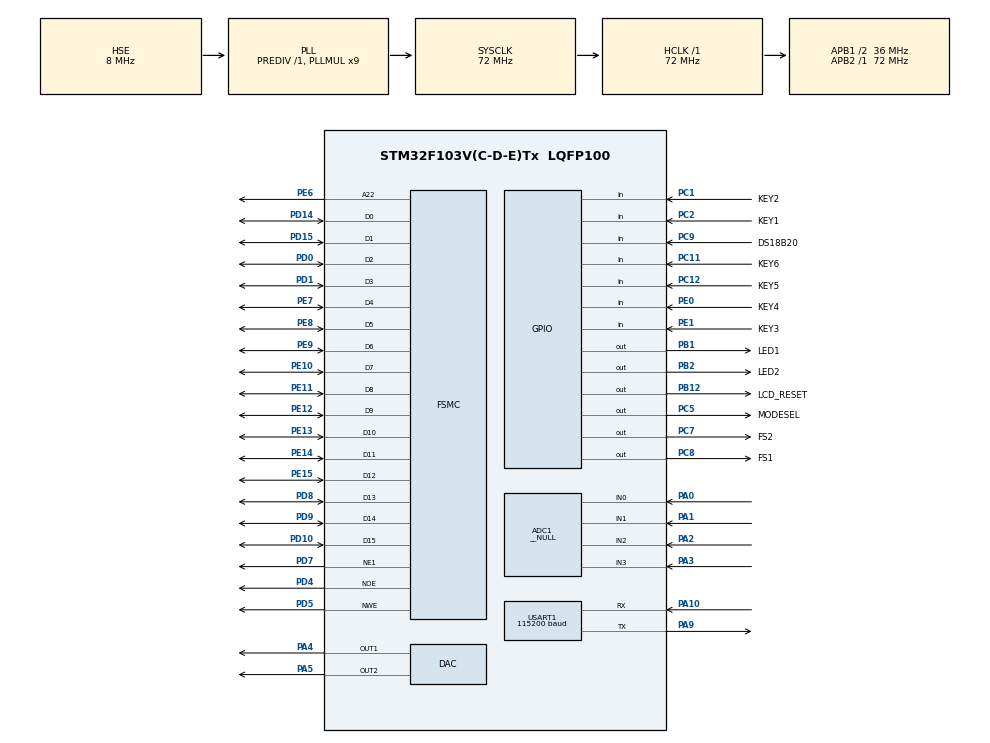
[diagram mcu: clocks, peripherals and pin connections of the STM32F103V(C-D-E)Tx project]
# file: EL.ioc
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ADC1.Channel-0\#ChannelRegularConversion=ADC_CHANNEL_0
ADC1.Channel-1\#ChannelRegularConversion=ADC_CHANNEL_1
ADC1.Channel-2\#ChannelRegularConversion=ADC_CHANNEL_2
ADC1.Channel-3\#ChannelRegularConversion=ADC_CHANNEL_3
ADC1.Channel-IN0=ADC_CHANNEL_0
ADC1.Channel-IN1=ADC_CHANNEL_1
ADC1.Channel-IN2=ADC_CHANNEL_2
ADC1.Channel-IN3=ADC_CHANNEL_3
ADC1.ContinuousConvMode=ENABLE
ADC1.DataAlign=ADC_DATAALIGN_RIGHT
ADC1.DiscontinuousConvMode=DISABLE
ADC1.EnableAnalogWatchDog=false
ADC1.EnableRegularConversion=ENABLE
ADC1.ExternalTrigConv=ADC_SOFTWARE_START
ADC1.InjNumberOfConversion=0
ADC1.Mode=__NULL
ADC1.NbrOfConversion=4
ADC1.Rank-0\#ChannelRegularConversion=1
ADC1.Rank-1\#ChannelRegularConversion=2
ADC1.Rank-2\#ChannelRegularConversion=3
ADC1.Rank-3\#ChannelRegularConversion=4
ADC1.SamplingTime-0\#ChannelRegularConversion=ADC_SAMPLETIME_55CYCLES_5
ADC1.SamplingTime-1\#ChannelRegularConversion=ADC_SAMPLETIME_55CYCLES_5
ADC1.SamplingTime-2\#ChannelRegularConversion=ADC_SAMPLETIME_55CYCLES_5
ADC1.SamplingTime-3\#ChannelRegularConversion=ADC_SAMPLETIME_55CYCLES_5
ADC1.ScanConvMode=ADC_SCAN_ENABLE
ADC1.master=1
DAC.DAC_OutputBuffer-DAC_OUT1=DAC_OUTPUTBUFFER_ENABLE
DAC.DAC_Trigger-DAC_OUT1=DAC_TRIGGER_NONE
Dma.ADC1.0.Direction=DMA_PERIPH_TO_MEMORY
Dma.ADC1.0.Instance=DMA1_Channel1
Dma.ADC1.0.MemDataAlignment=DMA_MDATAALIGN_WORD
Dma.ADC1.0.MemInc=DMA_MINC_ENABLE
Dma.ADC1.0.Mode=DMA_CIRCULAR
Dma.ADC1.0.PeriphDataAlignment=DMA_PDATAALIGN_WORD
Dma.ADC1.0.PeriphInc=DMA_PINC_DISABLE
Dma.ADC1.0.Priority=DMA_PRIORITY_HIGH
Dma.Request0=ADC1
FSMC.AddressSetupTime1=0
FSMC.BusTurnAroundDuration1=0
FSMC.DataSetupTime1=5
Mcu.Family=STM32F1
Mcu.Name=STM32F103V(C-D-E)Tx
Mcu.Package=LQFP100
NVIC.ADC1_2_IRQn=true\:0\:0\:false\:false\:true\:true\:true
NVIC.DMA1_Channel1_IRQn=true\:0\:0\:false\:false\:true\:false\:true
NVIC.PriorityGroup=NVIC_PRIORITYGROUP_4
NVIC.TIM2_IRQn=true\:0\:0\:false\:false\:true\:true\:true
OSC_IN.Mode=HSE-External-Oscillator
OSC_IN.Signal=RCC_OSC_IN
OSC_OUT.Mode=HSE-External-Oscillator
OSC_OUT.Signal=RCC_OSC_OUT
PA0-WKUP.Signal=ADCx_IN0
PA1.Signal=ADCx_IN1
PA10.Mode=Asynchronous
PA10.Signal=USART1_RX
PA13.Mode=Serial_Wire
PA13.Signal=SYS_JTMS-SWDIO
PA14.Mode=Serial_Wire
PA14.Signal=SYS_JTCK-SWCLK
PA2.Signal=ADCx_IN2
PA3.Signal=ADCx_IN3
PA4.Signal=COMP_DAC1_group
PA5.Signal=COMP_DAC2_group
PA9.Mode=Asynchronous
PA9.Signal=USART1_TX
PB1.GPIO_Label=LED1
PB1.GPIO_PuPd=GPIO_PULLUP
PB1.PinState=GPIO_PIN_SET
PB1.Signal=GPIO_Output
PB12.GPIO_Label=LCD_RESET
PB12.Signal=GPIO_Output
PB2.GPIO_Label=LED2
PB2.GPIO_ModeDefaultOutputPP=GPIO_MODE_OUTPUT_PP
PB2.GPIO_PuPd=GPIO_PULLUP
PB2.PinState=GPIO_PIN_SET
PB2.Signal=GPIO_Output
PC1.GPIO_Label=KEY2
PC1.GPIO_PuPd=GPIO_PULLUP
PC1.Signal=GPIO_Input
PC11.GPIO_Label=KEY6
PC11.GPIO_PuPd=GPIO_PULLUP
PC11.Signal=GPIO_Input
PC12.GPIO_Label=KEY5
PC12.GPIO_PuPd=GPIO_PULLUP
PC12.Signal=GPIO_Input
PC2.GPIO_Label=KEY1
PC2.GPIO_PuPd=GPIO_PULLUP
PC2.Signal=GPIO_Input
PC5.GPIO_Label=MODESEL
PC5.Signal=GPIO_Output
PC7.GPIO_Label=FS2
PC7.Signal=GPIO_Output
PC8.GPIO_Label=FS1
PC8.Signal=GPIO_Output
PC9.GPIO_Label=DS18B20
PC9.Signal=GPIO_Input
PD0.Mode=16b-d1
PD0.Signal=FSMC_D2
PD1.Mode=16b-d1
PD1.Signal=FSMC_D3
PD10.Mode=16b-d1
PD10.Signal=FSMC_D15
PD14.Mode=16b-d1
PD14.Signal=FSMC_D0
PD15.Mode=16b-d1
PD15.Signal=FSMC_D1
PD4.Mode=Lcd1
PD4.Signal=FSMC_NOE
PD5.Mode=Lcd1
PD5.Signal=FSMC_NWE
PD7.Mode=NorPsramChipSelect1_1
PD7.Signal=FSMC_NE1
PD8.Mode=16b-d1
PD8.Signal=FSMC_D13
PD9.Mode=16b-d1
PD9.Signal=FSMC_D14
PE0.GPIO_Label=KEY4
PE0.GPIO_PuPd=GPIO_PULLUP
PE0.Signal=GPIO_Input
PE1.GPIO_Label=KEY3
PE1.GPIO_PuPd=GPIO_PULLUP
PE1.Signal=GPIO_Input
PE10.Mode=16b-d1
PE10.Signal=FSMC_D7
PE11.Mode=16b-d1
PE11.Signal=FSMC_D8
PE12.Mode=16b-d1
PE12.Signal=FSMC_D9
PE13.Mode=16b-d1
PE13.Signal=FSMC_D10
PE14.Mode=16b-d1
PE14.Signal=FSMC_D11
PE15.Mode=16b-d1
PE15.Signal=FSMC_D12
PE6.Mode=A22_1
PE6.Signal=FSMC_A22
PE7.Mode=16b-d1
PE7.Signal=FSMC_D4
PE8.Mode=16b-d1
PE8.Signal=FSMC_D5
PE9.Mode=16b-d1
PE9.Signal=FSMC_D6
ProjectManager.HeapSize=0x400
ProjectManager.StackSize=0x800
ProjectManager.TargetToolchain=MDK-ARM V5
RCC.ADCPresc=RCC_ADCPCLK2_DIV6
RCC.AHBFreq_Value=72000000
RCC.APB1CLKDivider=RCC_HCLK_DIV2
RCC.APB1Freq_Value=36000000
RCC.APB1TimFreq_Value=72000000
RCC.APB2Freq_Value=72000000
RCC.APB2TimFreq_Value=72000000
RCC.HCLKFreq_Value=72000000
RCC.PLLMUL=RCC_PLL_MUL9
RCC.PLLSourceVirtual=RCC_PLLSOURCE_HSE
RCC.SYSCLKFreq_VALUE=72000000
RCC.SYSCLKSource=RCC_SYSCLKSOURCE_PLLCLK
RCC.USBFreq_Value=72000000
SH.ADCx_IN0.0=ADC1_IN0,IN0
SH.ADCx_IN1.0=ADC1_IN1,IN1
SH.ADCx_IN2.0=ADC1_IN2,IN2
SH.ADCx_IN3.0=ADC1_IN3,IN3
SH.COMP_DAC1_group.0=DAC_OUT1,DAC_OUT1
SH.COMP_DAC2_group.0=DAC_OUT2,DAC_OUT2
TIM2.AutoReloadPreload=TIM_AUTORELOAD_PRELOAD_ENABLE
TIM2.ClockDivision=TIM_CLOCKDIVISION_DIV1
TIM2.CounterMode=TIM_COUNTERMODE_UP
TIM2.Period=65535
TIM2.Prescaler=719
TIM2.TIM_MasterOutputTrigger=TIM_TRGO_UPDATE
TIM2.TIM_MasterSlaveMode=TIM_MASTERSLAVEMODE_DISABLE
USART1.BaudRate=115200
USART1.Mode=MODE_TX_RX
USART1.OverSampling=UART_OVERSAMPLING_16
USART1.Parity=PARITY_NONE
USART1.StopBits=STOPBITS_1
USART1.VirtualMode=VM_ASYNC
USART1.WordLength=WORDLENGTH_8B
VP_TIM2_VS_ClockSourceINT.Mode=Internal
board=custom

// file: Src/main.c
/* USER CODE BEGIN Header */
/**
  ******************************************************************************
  * @file           : main.c
  * @brief          : Main program body
  ******************************************************************************
  * @attention
  *
  * <h2><center>&copy; Copyright (c) 2019 STMicroelectronics.
  * All rights reserved.</center></h2>
  *
  * This software component is licensed by ST under BSD 3-Clause license,
  * the "License"; You may not use this file except in compliance with the
  * License. You may obtain a copy of the License at:
  *                        opensource.org/licenses/BSD-3-Clause
  *
  ******************************************************************************
  */
/* USER CODE END Header */

#include "main.h"
#include "adc.h"
#include "dac.h"
#include "dma.h"
#include "tim.h"
#include "usart.h"
#include "gpio.h"
#include "fsmc.h"

/* USER CODE BEGIN Includes */

#include "delay.h"
#include "bsp_ili9325_lcd.h"
#include "key.h"
#include "lvgl.h"
#include "demo.h"
#include "main_task.h"
#include "tft.h"

/* USER CODE END Includes */

void SystemClock_Config(void);

int main(void)
{

  /* MCU Configuration--------------------------------------------------------*/

  /* Reset of all peripherals, Initializes the Flash interface and the Systick. */
  HAL_Init();

  /* Configure the system clock */
  SystemClock_Config();

  /* USER CODE BEGIN SysInit */
  delay_init(72);

  /* USER CODE END SysInit */

  /* Initialize all configured peripherals */
  MX_GPIO_Init();
  MX_DMA_Init();
  MX_ADC1_Init();
  MX_DAC_Init();
  MX_TIM2_Init();
  MX_USART1_UART_Init();
  MX_FSMC_Init();
  /* USER CODE BEGIN 2 */
    LL_TIM_EnableIT_UPDATE(TIM2);
    LL_TIM_EnableCounter(TIM2);
    ILI9325_Init();
	lv_init();
    tft_init();
#ifdef USE_DEMO
    demo();
#endif
    main_task();
  /* USER CODE END 2 */

  /* Infinite loop */
  while (1)
  {

    /* USER CODE BEGIN 3 */
      Input_value();
        delay_ms(1);
        lv_tick_inc(1);
		lv_task_handler();
  }
  /* USER CODE END 3 */
}

void SystemClock_Config(void)
{
  RCC_OscInitTypeDef RCC_OscInitStruct = {0};
  RCC_ClkInitTypeDef RCC_ClkInitStruct = {0};
  RCC_PeriphCLKInitTypeDef PeriphClkInit = {0};

  /** Initializes the CPU, AHB and APB busses clocks
  */
  RCC_OscInitStruct.OscillatorType = RCC_OSCILLATORTYPE_HSE;
  RCC_OscInitStruct.HSEState = RCC_HSE_ON;
  RCC_OscInitStruct.HSEPredivValue = RCC_HSE_PREDIV_DIV1;
  RCC_OscInitStruct.HSIState = RCC_HSI_ON;
  RCC_OscInitStruct.PLL.PLLState = RCC_PLL_ON;
  RCC_OscInitStruct.PLL.PLLSource = RCC_PLLSOURCE_HSE;
  RCC_OscInitStruct.PLL.PLLMUL = RCC_PLL_MUL9;
  if (HAL_RCC_OscConfig(&RCC_OscInitStruct) != HAL_OK)
  {
    Error_Handler();
  }
  /** Initializes the CPU, AHB and APB busses clocks
  */
  RCC_ClkInitStruct.ClockType = RCC_CLOCKTYPE_HCLK|RCC_CLOCKTYPE_SYSCLK
                              |RCC_CLOCKTYPE_PCLK1|RCC_CLOCKTYPE_PCLK2;
  RCC_ClkInitStruct.SYSCLKSource = RCC_SYSCLKSOURCE_PLLCLK;
  RCC_ClkInitStruct.AHBCLKDivider = RCC_SYSCLK_DIV1;
  RCC_ClkInitStruct.APB1CLKDivider = RCC_HCLK_DIV2;
  RCC_ClkInitStruct.APB2CLKDivider = RCC_HCLK_DIV1;

  if (HAL_RCC_ClockConfig(&RCC_ClkInitStruct, FLASH_LATENCY_2) != HAL_OK)
  {
    Error_Handler();
  }
  PeriphClkInit.PeriphClockSelection = RCC_PERIPHCLK_ADC;
  PeriphClkInit.AdcClockSelection = RCC_ADCPCLK2_DIV6;
  if (HAL_RCCEx_PeriphCLKConfig(&PeriphClkInit) != HAL_OK)
  {
    Error_Handler();
  }
}

void Error_Handler(void)
{
}

/************************ (C) COPYRIGHT STMicroelectronics *****END OF FILE****/
